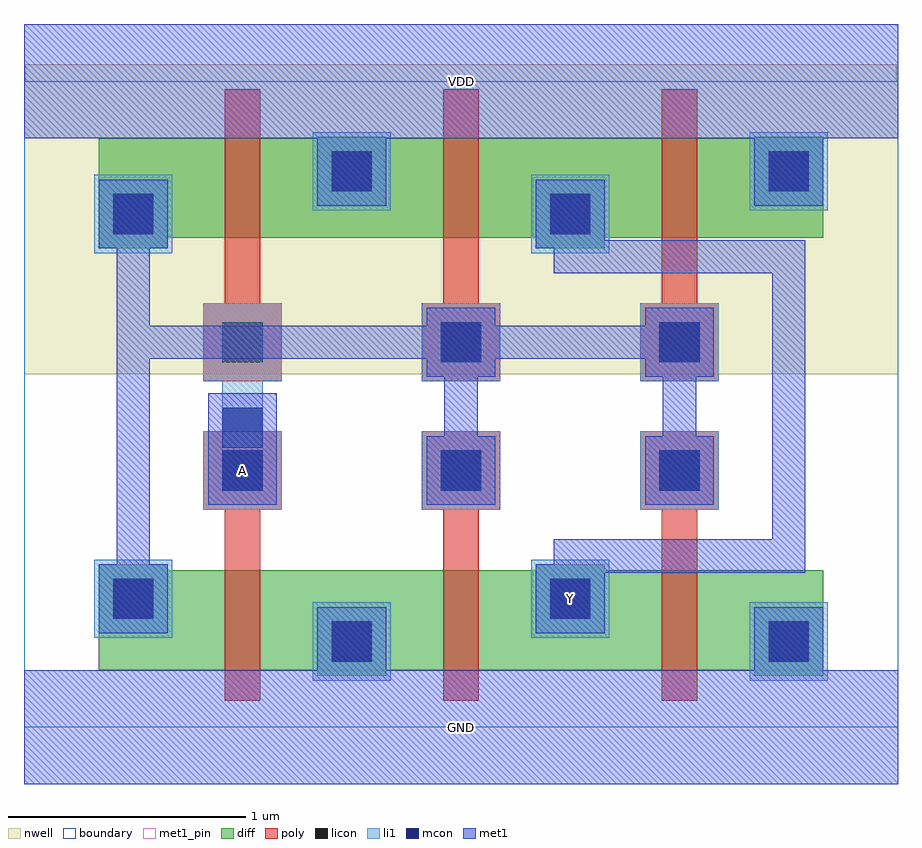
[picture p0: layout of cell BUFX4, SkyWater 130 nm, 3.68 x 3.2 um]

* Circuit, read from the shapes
.subckt BUFX4 A GND VDD Y
XM1 GND A n1 VSUBS sky130_fd_pr__nfet_01v8 w=0.42 l=0.15
XM2 Y n1 GND VSUBS sky130_fd_pr__nfet_01v8 w=0.42 l=0.15 m=2
XM3 VDD A n1 n2 sky130_fd_pr__pfet_01v8 w=0.42 l=0.15
XM4 Y n1 VDD n2 sky130_fd_pr__pfet_01v8 w=0.42 l=0.15 m=2
.ends

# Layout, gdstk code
import gdstk
lib = gdstk.Library(unit=1e-6, precision=1e-09)
def R(c, l, rs):  # rectangles x0, y0, x1, y1
    for r in rs: c.add(gdstk.rectangle(r[:2], r[2:], *l))
def A(c, l, x, y, w, h, nx, ny, dx, dy):  # array of equal rectangles
    R(c, l, [(x+i*dx, y+j*dy, x+i*dx+w, y+j*dy+h) for i in range(nx) for j in range(ny)])
def P(c, l, *ps):  # polygons
    for p in ps: c.add(gdstk.Polygon(p, *l))
nwell = (64, 20)
diff = (65, 20)
poly = (66, 20)
licon = (66, 44)
li1 = (67, 20)
mcon = (67, 44)
met1_pin = (68, 16)
met1 = (68, 20)
boundary = (235, 4)

bufx4 = lib.new_cell('BUFX4')
P(bufx4, nwell, [(0,1.485),(0,2.72),(0.005,2.72),(0.005,2.79),(3.675,2.79),(3.675,2.72),(3.68,2.72),(3.68,1.485)])
P(bufx4, diff, [(1.235,0.215),(1.235,0.24),(0.315,0.24),(0.315,0.685),(0.605,0.685),(0.605,0.66),(2.155,0.66),(2.155,0.685),(2.445,0.685),(2.445,0.66),(3.365,0.66),(3.365,0.215),(3.075,0.215),(3.075,0.24),(1.525,0.24),(1.525,0.215)],
  [(0.315,2.015),(0.315,2.48),(1.235,2.48),(1.235,2.485),(1.525,2.485),(1.525,2.48),(3.075,2.48),(3.075,2.485),(3.365,2.485),(3.365,2.06),(2.445,2.06),(2.445,2.015),(2.155,2.015),(2.155,2.06),(0.605,2.06),(0.605,2.015)])
P(bufx4, poly, [(0.845,0.11),(0.845,0.915),(0.755,0.915),(0.755,1.245),(1.085,1.245),(1.085,0.915),(0.995,0.915),(0.995,0.11)],
  [(1.765,0.11),(1.765,0.915),(1.675,0.915),(1.675,1.245),(2.005,1.245),(2.005,0.915),(1.915,0.915),(1.915,0.11)],
  [(2.685,0.11),(2.685,0.915),(2.595,0.915),(2.595,1.245),(2.925,1.245),(2.925,0.915),(2.835,0.915),(2.835,0.11)],
  [(0.755,1.455),(0.755,1.785),(0.845,1.785),(0.845,2.685),(0.995,2.685),(0.995,1.785),(1.085,1.785),(1.085,1.455)],
  [(1.675,1.455),(1.675,1.785),(1.765,1.785),(1.765,2.685),(1.915,2.685),(1.915,1.785),(2.005,1.785),(2.005,1.455)],
  [(2.595,1.455),(2.595,1.785),(2.685,1.785),(2.685,2.685),(2.835,2.685),(2.835,1.785),(2.925,1.785),(2.925,1.455)])
A(bufx4, licon, 0.835, 0.995, 0.17, 0.17, 3, 2, 0.92, 0.54)
R(bufx4, licon, [(1.295,0.275,1.465,0.445), (3.135,0.275,3.305,0.445), (0.375,0.455,0.545,0.625), (2.215,0.455,2.385,0.625), (0.375,2.075,0.545,2.245), (2.215,2.075,2.385,2.245), (1.295,2.255,1.465,2.425), (3.135,2.255,3.305,2.425)])
R(bufx4, li1, [(1.215,0.195,1.545,0.525), (3.055,0.195,3.385,0.525), (0.295,0.375,0.625,0.705), (2.135,0.375,2.465,0.705), (1.675,0.915,2.005,1.245), (2.595,0.915,2.925,1.245), (1.675,1.455,2.005,1.785), (2.595,1.455,2.925,1.785), (0.295,1.995,0.625,2.325), (2.135,1.995,2.465,2.325), (1.215,2.175,1.545,2.505), (3.055,2.175,3.385,2.505)])
P(bufx4, li1, [(0.755,0.915),(0.755,1.245),(0.835,1.245),(0.835,1.455),(0.755,1.455),(0.755,1.785),(1.085,1.785),(1.085,1.455),(1.005,1.455),(1.005,1.245),(1.085,1.245),(1.085,0.915)])
A(bufx4, mcon, 0.835, 0.995, 0.17, 0.17, 3, 1, 0.92, 0)
R(bufx4, mcon, [(1.295,0.275,1.465,0.445), (3.135,0.275,3.305,0.445), (0.375,0.455,0.545,0.625), (2.215,0.455,2.385,0.625), (0.835,1.175,1.005,1.345), (1.755,1.535,1.925,1.705), (2.675,1.535,2.845,1.705), (0.375,2.075,0.545,2.245), (2.215,2.075,2.385,2.245), (1.295,2.255,1.465,2.425), (3.135,2.255,3.305,2.425)])
R(bufx4, met1_pin, [(0,-0.24,3.68,0.24), (0.775,0.935,1.065,1.405), (0,2.48,3.68,2.96)])
P(bufx4, met1_pin, [(2.155,0.395),(2.155,0.685),(2.23,0.685),(2.23,0.79),(3.15,0.79),(3.15,1.91),(2.23,1.91),(2.23,2.015),(2.155,2.015),(2.155,2.305),(2.445,2.305),(2.445,2.05),(3.29,2.05),(3.29,0.65),(2.445,0.65),(2.445,0.395)])
R(bufx4, met1, [(0.775,0.935,1.065,1.405)])
P(bufx4, met1, [(0,-0.24),(0,0.24),(1.235,0.24),(1.235,0.505),(1.525,0.505),(1.525,0.24),(3.075,0.24),(3.075,0.505),(3.365,0.505),(3.365,0.24),(3.68,0.24),(3.68,-0.24)],
  [(0.315,0.395),(0.315,0.685),(0.39,0.685),(0.39,2.015),(0.315,2.015),(0.315,2.305),(0.605,2.305),(0.605,2.015),(0.53,2.015),(0.53,1.69),(1.695,1.69),(1.695,1.765),(1.985,1.765),(1.985,1.69),(2.615,1.69),(2.615,1.765),(2.905,1.765),(2.905,1.475),(2.83,1.475),(2.83,1.225),(2.905,1.225),(2.905,0.935),(2.615,0.935),(2.615,1.225),(2.69,1.225),(2.69,1.475),(2.615,1.475),(2.615,1.55),(1.985,1.55),(1.985,1.475),(1.91,1.475),(1.91,1.225),(1.985,1.225),(1.985,0.935),(1.695,0.935),(1.695,1.225),(1.77,1.225),(1.77,1.475),(1.695,1.475),(1.695,1.55),(0.53,1.55),(0.53,0.685),(0.605,0.685),(0.605,0.395)],
  [(2.155,0.395),(2.155,0.685),(2.23,0.685),(2.23,0.79),(3.15,0.79),(3.15,1.91),(2.23,1.91),(2.23,2.015),(2.155,2.015),(2.155,2.305),(2.445,2.305),(2.445,2.05),(3.29,2.05),(3.29,0.65),(2.445,0.65),(2.445,0.395)],
  [(1.235,2.195),(1.235,2.48),(0,2.48),(0,2.96),(3.68,2.96),(3.68,2.48),(3.365,2.48),(3.365,2.195),(3.075,2.195),(3.075,2.48),(1.525,2.48),(1.525,2.195)])
R(bufx4, boundary, [(0,0,3.68,2.72)])
bufx4.add(gdstk.Label('Y', (2.3,0.54), layer=68, texttype=5))
bufx4.add(gdstk.Label('A', (0.92,1.08), layer=68, texttype=5))
bufx4.add(gdstk.Label('GND', (1.84,0), layer=68, texttype=5))
bufx4.add(gdstk.Label('VDD', (1.84,2.72), layer=68, texttype=5))

lib.write_gds('BUFX4.gds')
